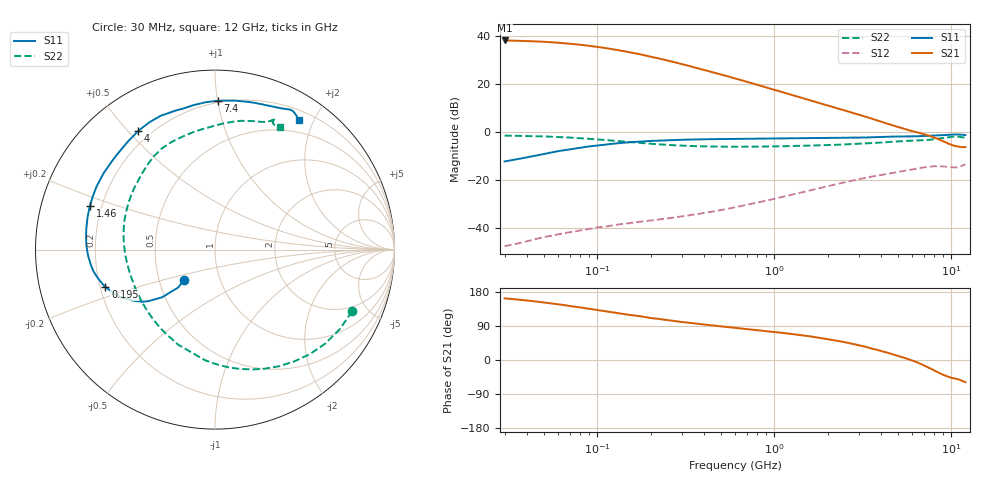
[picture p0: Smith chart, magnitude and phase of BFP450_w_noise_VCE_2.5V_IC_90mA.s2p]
! Infineon Technologies  Discrete & RF Semiconductors
! BFP450
! VCE =  2.5 V,  IC =  90 mA
! Common Emitter S-Parameters:  Nov 2015
# GHz  S  MA  R  50
!  f  S11  S21  S12  S22
! GHz  MAG  ANG  MAG  ANG  MAG  ANG  MAG  ANG
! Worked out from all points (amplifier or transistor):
!   239 points, 30 MHz to 12 GHz, reference 50 ohm
!   highest |S21| = 38.0 dB at 30 MHz (marker M1)
!   |S21| within 3 dB of that: start of sweep to 107.7 MHz
!   unconditionally stable (mu >= 1): 926.5 MHz to end of sweep
!   at 300 MHz: K = 0.69, MSG = 31.7 dB, |S12| = -35.1 dB
!   at 1.88 GHz: K = 1.09, MAG = 15.5 dB, |S12| = -23.1 dB
!   at 12 GHz: K = 1.08, MAG = 1.8 dB, |S12| = -13.5 dB
!   lowest NFmin = 2.02 dB at 450 MHz
!   S11 on the Smith chart (normalised r, x): 30 MHz: 0.67, -0.24; 195 MHz: 0.22, -0.16; 1.46 GHz: 0.15, +0.17; 4 GHz: 0.15, +0.54; 7.4 GHz: 0.19, +1.00; 12 GHz: 0.32, +1.79
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0.03  0.2427 -135.4  79.87 162.6  0.0042 79.8  0.8379 -24.3
0.04  0.2949 -134.2  77.65 157.1  0.0053 77.1  0.8243 -32.6
0.05  0.3475 -136.4  74.95 151.8  0.0065 72.0  0.807 -40.5
0.06  0.3975 -138.0  71.66 147.3  0.0074 69.1  0.7862 -47.9
0.07  0.4342 -140.4  68.31 142.5  0.0082 66.2  0.7629 -54.9
0.085  0.484 -143.3  63.43 137.0  0.0092 62.2  0.7288 -64.4
0.11  0.5447 -148.7  55.9 128.9  0.0107 58.3  0.6794 -78.1
0.13  0.5804 -152.2  50.52 123.7  0.0118 56.4  0.6457 -87.4
0.15  0.6082 -155.6  45.87 119.2  0.0126 54.9  0.6176 -95.4
0.195  0.645 -161.2  37.55 111.8  0.0142 53.8  0.5707 -109.6
0.24  0.6671 -165.4  31.62 106.3  0.0156 53.7  0.5419 -120.5
0.3  0.6874 -169.8  25.7 100.3  0.0175 54.3  0.519 -131.9
0.36  0.6972 -173.1  21.66 96.2  0.0193 55.3  0.5059 -139.9
0.45  0.7074 -176.9  17.34 91.0  0.0221 57.0  0.496 -149.3
0.6  0.717 178.2  12.92 84.9  0.027 58.8  0.4917 -159.8
0.9  0.7261 171.1  8.419 76.3  0.0371 60.0  0.4971 -173.0
1.46  0.7381 160.6  4.995 64.8  0.0561 57.3  0.5151 171.6
1.64  0.7414 157.6  4.406 61.5  0.0622 55.8  0.5211 167.7
4  0.7876 122.8  1.636 23.7  0.1273 29.2  0.6029 128.9
4.5  0.7981 117.3  1.423 17.1  0.1371 24.1  0.6221 123.1
7.4  0.829 89.0  0.844 -19.7  0.1879 -6.6  0.6818 93.0
12  0.8603 57.1  0.484 -58.5  0.2121 -40.9  0.7702 62.1
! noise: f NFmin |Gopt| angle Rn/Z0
0.45  2.02  0.62  -172  0.07
0.9  2.06  0.65  -166  0.08
1.9  2.17  0.67  -150  0.14
2.4  2.26  0.67  -140  0.21
